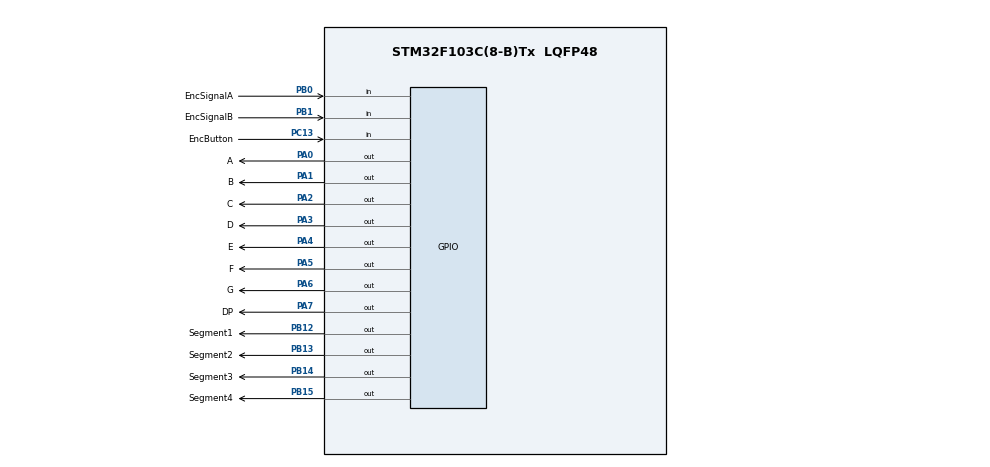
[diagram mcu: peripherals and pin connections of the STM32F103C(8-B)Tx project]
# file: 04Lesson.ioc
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Mcu.Family=STM32F1
Mcu.Name=STM32F103C(8-B)Tx
Mcu.Package=LQFP48
NVIC.PriorityGroup=NVIC_PRIORITYGROUP_4
PA0-WKUP.GPIO_Label=A
PA0-WKUP.Signal=GPIO_Output
PA1.GPIO_Label=B
PA1.Signal=GPIO_Output
PA13.Mode=Serial_Wire
PA13.Signal=SYS_JTMS-SWDIO
PA14.Mode=Serial_Wire
PA14.Signal=SYS_JTCK-SWCLK
PA2.GPIO_Label=C
PA2.Signal=GPIO_Output
PA3.GPIO_Label=D
PA3.Signal=GPIO_Output
PA4.GPIO_Label=E
PA4.Signal=GPIO_Output
PA5.GPIO_Label=F
PA5.Signal=GPIO_Output
PA6.GPIO_Label=G
PA6.Signal=GPIO_Output
PA7.GPIO_Label=DP
PA7.Signal=GPIO_Output
PB0.GPIO_Label=EncSignalA
PB0.GPIO_PuPd=GPIO_PULLUP
PB0.Signal=GPIO_Input
PB1.GPIO_Label=EncSignalB
PB1.GPIO_PuPd=GPIO_PULLUP
PB1.Signal=GPIO_Input
PB12.GPIO_Label=Segment1
PB12.Signal=GPIO_Output
PB13.GPIO_Label=Segment2
PB13.Signal=GPIO_Output
PB14.GPIO_Label=Segment3
PB14.Signal=GPIO_Output
PB15.GPIO_Label=Segment4
PB15.Signal=GPIO_Output
PC13-TAMPER-RTC.GPIO_Label=EncButton
PC13-TAMPER-RTC.GPIO_PuPd=GPIO_PULLUP
PC13-TAMPER-RTC.Signal=GPIO_Input
ProjectManager.HeapSize=0x200
ProjectManager.StackSize=0x400
ProjectManager.TargetToolchain=Other Toolchains (GPDSC)
RCC.APB1Freq_Value=8000000
RCC.APB2Freq_Value=8000000
board=custom

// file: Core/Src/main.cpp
/* USER CODE BEGIN Header */
/**
  ******************************************************************************
  * @file           : main.c
  * @brief          : Main program body
  ******************************************************************************
  * @attention
  *
  * <h2><center>&copy; Copyright (c) 2020 STMicroelectronics.
  * All rights reserved.</center></h2>
  *
  * This software component is licensed by ST under BSD 3-Clause license,
  * the "License"; You may not use this file except in compliance with the
  * License. You may obtain a copy of the License at:
  *                        opensource.org/licenses/BSD-3-Clause
  *
  ******************************************************************************
  */
/* USER CODE END Header */
#include "main.h"

/* USER CODE BEGIN Includes */
#include "Encoder.h"
#include "DigitLed.h"
/* USER CODE END Includes */

void SystemClock_Config(void);
static void MX_GPIO_Init(void);

int main(void)
{

  /* MCU Configuration--------------------------------------------------------*/

  /* Reset of all peripherals, Initializes the Flash interface and the Systick. */
  HAL_Init();

  /* Configure the system clock */
  SystemClock_Config();

  /* Initialize all configured peripherals */
  MX_GPIO_Init();
  /* USER CODE BEGIN 2 */
	Encoder MyEncoder(EncButton_GPIO_Port, EncButton_Pin, EncSignalA_GPIO_Port, EncSignalA_Pin, EncSignalB_GPIO_Port, EncSignalB_Pin);
	DigitLed MyDigitLed(A_GPIO_Port, A_Pin,
		B_GPIO_Port, B_Pin,
		C_GPIO_Port, C_Pin,
		D_GPIO_Port, D_Pin,
		E_GPIO_Port, E_Pin,
		F_GPIO_Port, F_Pin,
		G_GPIO_Port, G_Pin,
		DP_GPIO_Port, DP_Pin,
		Segment1_GPIO_Port, Segment1_Pin,
		Segment2_GPIO_Port, Segment2_Pin,
		Segment3_GPIO_Port, Segment3_Pin,
		Segment4_GPIO_Port, Segment4_Pin);
	uint32_t Counter = 0;
	/* USER CODE END 2 */

  /* Infinite loop */
  /* USER CODE BEGIN WHILE */
  while (1)
  {
	  MyEncoder.updateState();
	  Counter = Counter + MyEncoder.GetState();
	  MyDigitLed.print(Counter);
    /* USER CODE END WHILE */

  }
}

void SystemClock_Config(void)
{
  RCC_OscInitTypeDef RCC_OscInitStruct = {0};
  RCC_ClkInitTypeDef RCC_ClkInitStruct = {0};

  /** Initializes the RCC Oscillators according to the specified parameters
  * in the RCC_OscInitTypeDef structure.
  */
  RCC_OscInitStruct.OscillatorType = RCC_OSCILLATORTYPE_HSI;
  RCC_OscInitStruct.HSIState = RCC_HSI_ON;
  RCC_OscInitStruct.HSICalibrationValue = RCC_HSICALIBRATION_DEFAULT;
  RCC_OscInitStruct.PLL.PLLState = RCC_PLL_NONE;
  if (HAL_RCC_OscConfig(&RCC_OscInitStruct) != HAL_OK)
  {
    Error_Handler();
  }
  /** Initializes the CPU, AHB and APB buses clocks
  */
  RCC_ClkInitStruct.ClockType = RCC_CLOCKTYPE_HCLK|RCC_CLOCKTYPE_SYSCLK
                              |RCC_CLOCKTYPE_PCLK1|RCC_CLOCKTYPE_PCLK2;
  RCC_ClkInitStruct.SYSCLKSource = RCC_SYSCLKSOURCE_HSI;
  RCC_ClkInitStruct.AHBCLKDivider = RCC_SYSCLK_DIV1;
  RCC_ClkInitStruct.APB1CLKDivider = RCC_HCLK_DIV1;
  RCC_ClkInitStruct.APB2CLKDivider = RCC_HCLK_DIV1;

  if (HAL_RCC_ClockConfig(&RCC_ClkInitStruct, FLASH_LATENCY_0) != HAL_OK)
  {
    Error_Handler();
  }
}

static void MX_GPIO_Init(void)
{
  GPIO_InitTypeDef GPIO_InitStruct = {0};

  /* GPIO Ports Clock Enable */
  __HAL_RCC_GPIOC_CLK_ENABLE();
  __HAL_RCC_GPIOA_CLK_ENABLE();
  __HAL_RCC_GPIOB_CLK_ENABLE();

  /*Configure GPIO pin Output Level */
  HAL_GPIO_WritePin(GPIOA, A_Pin|B_Pin|C_Pin|D_Pin
                          |E_Pin|F_Pin|G_Pin|DP_Pin, GPIO_PIN_RESET);

  /*Configure GPIO pin Output Level */
  HAL_GPIO_WritePin(GPIOB, Segment1_Pin|Segment2_Pin|Segment3_Pin|Segment4_Pin, GPIO_PIN_RESET);

  /*Configure GPIO pin : EncButton_Pin */
  GPIO_InitStruct.Pin = EncButton_Pin;
  GPIO_InitStruct.Mode = GPIO_MODE_INPUT;
  GPIO_InitStruct.Pull = GPIO_PULLUP;
  HAL_GPIO_Init(EncButton_GPIO_Port, &GPIO_InitStruct);

  /*Configure GPIO pins : A_Pin B_Pin C_Pin D_Pin
                           E_Pin F_Pin G_Pin DP_Pin */
  GPIO_InitStruct.Pin = A_Pin|B_Pin|C_Pin|D_Pin
                          |E_Pin|F_Pin|G_Pin|DP_Pin;
  GPIO_InitStruct.Mode = GPIO_MODE_OUTPUT_PP;
  GPIO_InitStruct.Pull = GPIO_NOPULL;
  GPIO_InitStruct.Speed = GPIO_SPEED_FREQ_LOW;
  HAL_GPIO_Init(GPIOA, &GPIO_InitStruct);

  /*Configure GPIO pins : EncSignalA_Pin EncSignalB_Pin */
  GPIO_InitStruct.Pin = EncSignalA_Pin|EncSignalB_Pin;
  GPIO_InitStruct.Mode = GPIO_MODE_INPUT;
  GPIO_InitStruct.Pull = GPIO_PULLUP;
  HAL_GPIO_Init(GPIOB, &GPIO_InitStruct);

  /*Configure GPIO pins : Segment1_Pin Segment2_Pin Segment3_Pin Segment4_Pin */
  GPIO_InitStruct.Pin = Segment1_Pin|Segment2_Pin|Segment3_Pin|Segment4_Pin;
  GPIO_InitStruct.Mode = GPIO_MODE_OUTPUT_PP;
  GPIO_InitStruct.Pull = GPIO_NOPULL;
  GPIO_InitStruct.Speed = GPIO_SPEED_FREQ_LOW;
  HAL_GPIO_Init(GPIOB, &GPIO_InitStruct);

}

void Error_Handler(void)
{
}

/************************ (C) COPYRIGHT STMicroelectronics *****END OF FILE****/
